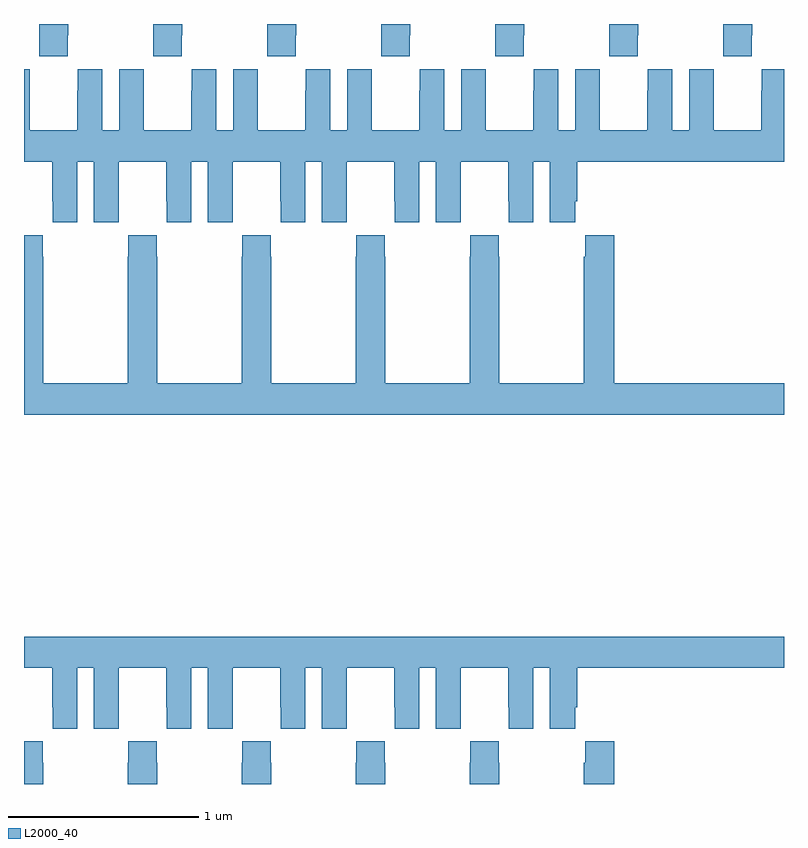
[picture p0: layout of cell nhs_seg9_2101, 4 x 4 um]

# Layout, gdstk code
import gdstk
lib = gdstk.Library(unit=1e-6, precision=1e-09)
def P(c, l, *ps):  # polygons
    for p in ps: c.add(gdstk.Polygon(p, *l))
L2000_40 = (2000, 40)

nhs_seg9_2101 = lib.new_cell('nhs_seg9_2101')
P(nhs_seg9_2101, L2000_40, [(231.231,1174.441),(231.234,1174.441),(231.234,1174.5),(231.079,1174.5),(231.079,1174.441),(231.081,1174.441),(231.081,1174.329),(231.231,1174.329)],
  [(231.831,1174.441),(231.834,1174.441),(231.834,1174.5),(231.679,1174.5),(231.679,1174.441),(231.681,1174.441),(231.681,1174.329),(231.831,1174.329)],
  [(232.431,1174.441),(232.434,1174.441),(232.434,1174.5),(232.279,1174.5),(232.279,1174.441),(232.281,1174.441),(232.281,1174.329),(232.431,1174.329)],
  [(233.031,1174.441),(233.034,1174.441),(233.034,1174.5),(232.879,1174.5),(232.879,1174.441),(232.881,1174.441),(232.881,1174.329),(233.031,1174.329)],
  [(233.631,1174.441),(233.634,1174.441),(233.634,1174.5),(233.479,1174.5),(233.479,1174.441),(233.481,1174.441),(233.481,1174.329),(233.631,1174.329)],
  [(234.231,1174.441),(234.234,1174.441),(234.234,1174.5),(234.079,1174.5),(234.079,1174.441),(234.081,1174.441),(234.081,1174.329),(234.231,1174.329)],
  [(234.831,1174.441),(234.834,1174.441),(234.834,1174.5),(234.679,1174.5),(234.679,1174.441),(234.681,1174.441),(234.681,1174.329),(234.831,1174.329)],
  [(231.28,1173.776),(231.368,1173.776),(231.368,1173.456),(231.498,1173.456),(231.498,1173.568),(231.499,1173.568),(231.499,1173.776),(231.749,1173.776),(231.749,1173.568),(231.75,1173.568),(231.75,1173.456),(231.88,1173.456),(231.88,1173.776),(231.968,1173.776),(231.968,1173.456),(232.098,1173.456),(232.098,1173.568),(232.099,1173.568),(232.099,1173.776),(232.349,1173.776),(232.349,1173.568),(232.35,1173.568),(232.35,1173.456),(232.48,1173.456),(232.48,1173.776),(232.568,1173.776),(232.568,1173.456),(232.698,1173.456),(232.698,1173.568),(232.699,1173.568),(232.699,1173.776),(232.949,1173.776),(232.949,1173.568),(232.95,1173.568),(232.95,1173.456),(233.08,1173.456),(233.08,1173.776),(233.168,1173.776),(233.168,1173.456),(233.298,1173.456),(233.298,1173.568),(233.299,1173.568),(233.299,1173.776),(233.549,1173.776),(233.549,1173.568),(233.55,1173.568),(233.55,1173.456),(233.68,1173.456),(233.68,1173.776),(233.768,1173.776),(233.768,1173.456),(233.902,1173.456),(233.902,1173.568),(233.912,1173.568),(233.912,1173.776),(235,1173.776),(235,1174.261),(234.882,1174.261),(234.882,1174.148),(234.881,1174.148),(234.881,1173.94),(234.631,1173.94),(234.631,1174.148),(234.63,1174.148),(234.63,1174.261),(234.5,1174.261),(234.5,1173.94),(234.412,1173.94),(234.412,1174.261),(234.282,1174.261),(234.282,1174.148),(234.281,1174.148),(234.281,1173.94),(234.031,1173.94),(234.031,1174.148),(234.03,1174.148),(234.03,1174.261),(233.9,1174.261),(233.9,1173.94),(233.812,1173.94),(233.812,1174.261),(233.682,1174.261),(233.682,1174.148),(233.681,1174.148),(233.681,1173.94),(233.431,1173.94),(233.431,1174.148),(233.43,1174.148),(233.43,1174.261),(233.3,1174.261),(233.3,1173.94),(233.212,1173.94),(233.212,1174.261),(233.082,1174.261),(233.082,1174.148),(233.081,1174.148),(233.081,1173.94),(232.831,1173.94),(232.831,1174.148),(232.83,1174.148),(232.83,1174.261),(232.7,1174.261),(232.7,1173.94),(232.612,1173.94),(232.612,1174.261),(232.482,1174.261),(232.482,1174.148),(232.481,1174.148),(232.481,1173.94),(232.231,1173.94),(232.231,1174.148),(232.23,1174.148),(232.23,1174.261),(232.1,1174.261),(232.1,1173.94),(232.012,1173.94),(232.012,1174.261),(231.882,1174.261),(231.882,1174.148),(231.881,1174.148),(231.881,1173.94),(231.631,1173.94),(231.631,1174.148),(231.63,1174.148),(231.63,1174.261),(231.5,1174.261),(231.5,1173.94),(231.412,1173.94),(231.412,1174.261),(231.282,1174.261),(231.282,1174.148),(231.281,1174.148),(231.281,1173.94),(231.031,1173.94),(231.031,1174.148),(231.03,1174.148),(231.03,1174.261),(231,1174.261),(231,1173.776),(231.149,1173.776),(231.149,1173.568),(231.15,1173.568),(231.15,1173.456),(231.28,1173.456)],
  [(235,1172.608),(234.107,1172.608),(234.107,1173.388),(233.953,1173.388),(233.953,1173.275),(233.947,1173.275),(233.947,1172.608),(233.502,1172.608),(233.502,1173.275),(233.499,1173.275),(233.499,1173.388),(233.349,1173.388),(233.349,1173.275),(233.347,1173.275),(233.347,1172.608),(232.902,1172.608),(232.902,1173.275),(232.899,1173.275),(232.899,1173.388),(232.749,1173.388),(232.749,1173.275),(232.747,1173.275),(232.747,1172.608),(232.302,1172.608),(232.302,1173.275),(232.299,1173.275),(232.299,1173.388),(232.149,1173.388),(232.149,1173.275),(232.147,1173.275),(232.147,1172.608),(231.702,1172.608),(231.702,1173.275),(231.699,1173.275),(231.699,1173.388),(231.549,1173.388),(231.549,1173.275),(231.547,1173.275),(231.547,1172.608),(231.102,1172.608),(231.102,1173.275),(231.099,1173.275),(231.099,1173.388),(231,1173.388),(231,1172.444),(235,1172.444)],
  [(231.28,1171.112),(231.368,1171.112),(231.368,1170.792),(231.498,1170.792),(231.498,1170.904),(231.499,1170.904),(231.499,1171.112),(231.749,1171.112),(231.749,1170.904),(231.75,1170.904),(231.75,1170.792),(231.88,1170.792),(231.88,1171.112),(231.968,1171.112),(231.968,1170.792),(232.098,1170.792),(232.098,1170.904),(232.099,1170.904),(232.099,1171.112),(232.349,1171.112),(232.349,1170.904),(232.35,1170.904),(232.35,1170.792),(232.48,1170.792),(232.48,1171.112),(232.568,1171.112),(232.568,1170.792),(232.698,1170.792),(232.698,1170.904),(232.699,1170.904),(232.699,1171.112),(232.949,1171.112),(232.949,1170.904),(232.95,1170.904),(232.95,1170.792),(233.08,1170.792),(233.08,1171.112),(233.168,1171.112),(233.168,1170.792),(233.298,1170.792),(233.298,1170.904),(233.299,1170.904),(233.299,1171.112),(233.549,1171.112),(233.549,1170.904),(233.55,1170.904),(233.55,1170.792),(233.68,1170.792),(233.68,1171.112),(233.768,1171.112),(233.768,1170.792),(233.902,1170.792),(233.902,1170.904),(233.912,1170.904),(233.912,1171.112),(235,1171.112),(235,1171.276),(231,1171.276),(231,1171.112),(231.149,1171.112),(231.149,1170.904),(231.15,1170.904),(231.15,1170.792),(231.28,1170.792)],
  [(231.102,1170.611),(231.099,1170.611),(231.099,1170.724),(231,1170.724),(231,1170.5),(231.102,1170.5)],
  [(234.107,1170.724),(233.953,1170.724),(233.953,1170.611),(233.947,1170.611),(233.947,1170.5),(234.107,1170.5)],
  [(233.502,1170.611),(233.499,1170.611),(233.499,1170.724),(233.349,1170.724),(233.349,1170.611),(233.347,1170.611),(233.347,1170.5),(233.502,1170.5)],
  [(232.902,1170.611),(232.899,1170.611),(232.899,1170.724),(232.749,1170.724),(232.749,1170.611),(232.747,1170.611),(232.747,1170.5),(232.902,1170.5)],
  [(232.302,1170.611),(232.299,1170.611),(232.299,1170.724),(232.149,1170.724),(232.149,1170.611),(232.147,1170.611),(232.147,1170.5),(232.302,1170.5)],
  [(231.702,1170.611),(231.699,1170.611),(231.699,1170.724),(231.549,1170.724),(231.549,1170.611),(231.547,1170.611),(231.547,1170.5),(231.702,1170.5)])

lib.write_gds('nhs_seg9_2101.gds')
